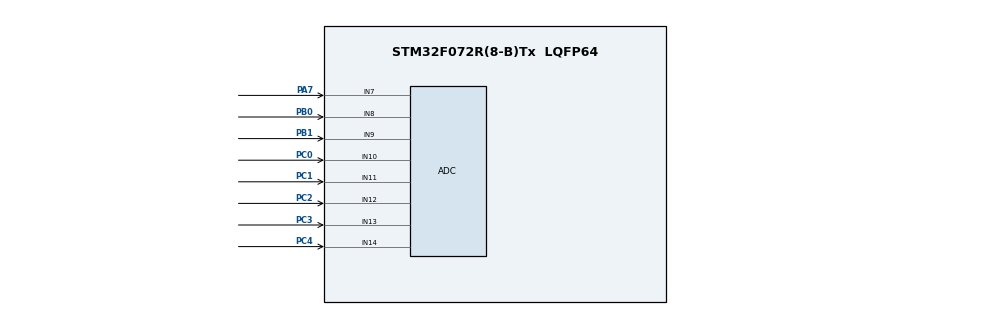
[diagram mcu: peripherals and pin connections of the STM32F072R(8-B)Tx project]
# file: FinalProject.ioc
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Mcu.Family=STM32F0
Mcu.Name=STM32F072R(8-B)Tx
Mcu.Package=LQFP64
PA7.Mode=IN7
PA7.Signal=ADC_IN7
PB0.Mode=IN8
PB0.Signal=ADC_IN8
PB1.Mode=IN9
PB1.Signal=ADC_IN9
PC0.Mode=IN10
PC0.Signal=ADC_IN10
PC1.Mode=IN11
PC1.Signal=ADC_IN11
PC2.Mode=IN12
PC2.Signal=ADC_IN12
PC3.Mode=IN13
PC3.Signal=ADC_IN13
PC4.Mode=IN14
PC4.Signal=ADC_IN14
ProjectManager.HeapSize=0x200
ProjectManager.StackSize=0x400
ProjectManager.TargetToolchain=MDK-ARM V5
board=custom

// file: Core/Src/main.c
/* USER CODE BEGIN Header */
/**
  ******************************************************************************
  * @file           : main.c
  * @brief          : Main program body - Final Project
  ******************************************************************************
  * This is the controlling .c file of the program, responsible for all logic
  * that occurs in this program. Program functionality all under Project's
  * README.md file. All logic discussed in file is handled in this code.
  *
  * @attention
  * Authors: Jack Marshall, Andrew Piskadlo, and Emily Erickson
  * University of Utah, ECE 5780: Embedded Systems
  * April 20th, 2024
  *
  * Copyright (c) 2024 STMicroelectronics.
  * All rights reserved.
  *
  * This software is licensed under terms that can be found in the LICENSE file
  * in the root directory of this software component.
  * If no LICENSE file comes with this software, it is provided AS-IS.
  *
  ******************************************************************************
  */
/* USER CODE END Header */
#include "main.h"
#include <stdbool.h> // Include the standard library for boolean variables
#include <stdio.h>
#include <stdlib.h>

#define ROWS 10 // Number of rows in the 2D array, so 10 guestures each with data for 8 channels can be saved
#define COLS 8  // Number of columns in the 2D array, so 8 channels can be saved

#define MAX_ARRAY_SIZE 100  // Maximum size of the array holding the 8-channels ADC data (12 digits per, so 96 total?), adjust as needed
#define MAX_STRING_LENGTH 189 // string length we need to transmit to UART to force each message to a new line (when putty in fullscreen mode)

/* USER CODE BEGIN Includes */

// Declare boolean variables
bool gestureIdentified = false;
bool gestureUnidentified = false;
bool gestureError = false;
bool alreadyCalibrated;
bool calibrationStarted;
bool testStarted;
char userInput;
char button;
int test;
int calibrationCounter = 0;
int testCounter;
int calibrateGestureNumber;
int testGestureNumber;
char errorMsgWrongLetter[] = " wrong input press r, g, b or o.";
char errorMsgWrongNumber[] = " wrong input press 0, 1, or 2. ";
char errorMsgRedOn[] = "                     turned on red LED.";
char errorMsgRedOff[] = "                     turned off red LED.";
char errorMsgRedToggle[] = "                     toggled red LED.";
char errorMsgGreenOn[] = "                     turned on green LED.";
char errorMsgGreenOff[] = "                     turned off green LED.";
char errorMsgGreenToggle[] = "                     toggled green LED.";
char errorMsgBlueOn[] = "                     turned on blue LED.";
char errorMsgBlueOff[] = "                     turned off blue LED.";
char errorMsgBlueToggle[] = "                     toggled blue LED.";
char errorMsgOrangeOn[] = "                     turned on orange LED.";
char errorMsgOrangeOff[] = "                     turned off orange LED.";
char errorMsgOrangeToggle[] = "                     toggled orange LED.";
char errorMsgBadArgument[] = " must enter 'start.' to calibrate, or 'test' to identify gesture. must 'start' before using 'test'.";
char errorMsgNotCalibrated[] = " cant 'test' before you 'start' calibration.";
char errorMsgCalibrated[] = " cant 'calibrate' twice in a row! push reset button to start over to recalibrate.";
char userInputArray[8];

int x = 115; // hard code length of message

// Placeholder for 0's and 1's in channels 1-8 after filtering and ADC
// Used to influence case statements for UART to print messages.
char channels[8];
uint32_t ADC_VAL[8] = {0,0,0,0,0,0,0,0}; // empty ADC values for all 8 channels
unsigned long ADC_TEST_VALS[8] = {0,0,0,0,0,0,0,0}; // empty ADV values for all 8 channels
unsigned long KALMAN_VALS[8] = {0,0,0,0,0,0,0,0}; // empty ADV values for all 8 channels
unsigned long ADCLibrary[ROWS][COLS]; // Global 2D array

/* USER CODE END Includes */

/* USER CODE BEGIN PV */
ADC_HandleTypeDef hadc;
/* USER CODE END PV */

void SystemClock_Config(void);
void TransmitCharacter (char input);
void CharReader(char string[x]);
void UARTConfig(void);
void UARTBegin(void);
void ClockLogic(void);
void SetupGPIOs(void);
void InitLEDsState(void);
void EnableUART(void);
void GetSignals(void);
void SaveGesture(void);
void BeginGesture(void);
void TestGesture(void);
void ADCInit(void);
void StoreADC(void);
void ADC_Select_CH1(void);
void ADC_Select_CH2(void);
void ADC_Select_CH3(void);
void ADC_Select_CH4(void);
void ADC_Select_CH5(void);
void ADC_Select_CH6(void);
void ADC_Select_CH7(void);
void ADC_Select_CH8(void);
void PrintError(char* values);
void PrintMessage(char* values);
void store_in_2d_array(unsigned long input[]);
void printArray(unsigned long* arr, int size);
bool ApproxGesture(unsigned long input[]);
bool CompareChannels(const char* values);
void SetChannels(const char* values);
void SetGestureFlags(bool identified, bool unidentified, bool error);
bool compareStrings(const char *str1, const char *str2);
unsigned long kalman_filter(unsigned long ADC_Value);
char* arrayToString(unsigned long* arr, int size);
int countNonEmptyIndices(char array[]);
static void MX_ADC_Init(void);

int main(void)
{
  HAL_Init(); // Initialize the Hardware Abstraction Layer (HAL)

  SystemClock_Config(); // Configure the system clock

  ClockLogic(); // Set up and configure various clocks

  SetupGPIOs(); // Clear registers for GPIO configuration

  ADCInit(); // Initialize Analog to Digital Converter (ADC)

  MX_ADC_Init(); // Initialize ADC pin configurations and parameters

  SetChannels("00000000"); // Set initial values in the channels array for gesture identification

  UARTConfig(); // Configure UART (Universal Asynchronous Receiver/Transmitter)

  InitLEDsState(); // Initialize LEDs state

  EnableUART(); // Turn on UART communication

  alreadyCalibrated = false; // Initialize calibration flags
  calibrationStarted = false;
  calibrationCounter = 0;
  testCounter = 0;

  calibrateGestureNumber = 1; // Set the number of gestures to calibrate and test
  testGestureNumber = 1;

  /* Infinite loop */
  while (1)
  {
    SetGestureFlags(false, false, false); // Reset gesture flags

    HAL_Delay(20); // General delay to control the rate of data processing

    // Check if all test gestures have been completed
    if (testCounter >= testGestureNumber)
    {
      PrintError("Main method: Finished!!");
      while (1)
      {
        // Infinite loop to halt execution
      }
    }

    if (!calibrationStarted)
    {
      // If calibration mode is not yet started, prompt user to initiate calibration
      PrintMessage("Enter 'start.' to start calibrating!");
      UARTBegin();
    }
    else
    {
      if (calibrationCounter == 0)
      {
        PrintMessage("Calibrate mode selected: push blue button to calibrate gesture!");
      }

      if (calibrationCounter < calibrateGestureNumber)
      {
        BeginGesture(); // Wait for the user to press a button to start recording gesture data
        GetSignals(); // Acquire signal data from the ADC
        SaveGesture(); // Save the recorded gesture data
      }
      else
      {
        if (testCounter == 0 && (!gestureUnidentified) && (!gestureError))
        {
          PrintMessage("All gestures calibrated, enter 'test.' to start testing gestures!");
          UARTBegin();
        }

        if (testStarted)
        {
          if (testCounter == 0)
          {
            PrintMessage("Test mode selected: push blue button when ready to test gesture!");
          }

          if (testCounter < testGestureNumber)
          {
            BeginGesture(); // Wait for the user to press a button to start recording gesture data
            GetSignals(); // Acquire signal data from the ADC
            TestGesture(); // Test the recorded gesture against calibrated gestures
          }
          else
          {
            PrintError("Main Method: Error!, restart program");
            while (1)
            {
              // Infinite loop to halt execution
            }
          }
        }
      }
    }
  }
}

/*****************************************************
*Function name: kalman_filter
 *Function function: ADC_filter
 *Entry parameter: ADC_Value
 *Export parameters: kalman_adc
*****************************************************/
unsigned long kalman_filter(unsigned long ADC_Value)
{
    float x_k1_k1,x_k_k1;
    static float ADC_OLD_Value;
    float Z_k;
    static float P_k1_k1;

    static float Q = 0.0001;//Q: Regulation noise, Q increases, dynamic response becomes faster, and convergence stability becomes worse
    static float R = 0.005; //R: Test noise, R increases, dynamic response becomes slower, convergence stability becomes better
    static float Kg = 0;
    static float P_k_k1 = 1;

    float kalman_adc;
    static float kalman_adc_old=0;
    Z_k = ADC_Value;
    x_k1_k1 = kalman_adc_old;

    x_k_k1 = x_k1_k1;
    P_k_k1 = P_k1_k1 + Q;

    Kg = P_k_k1/(P_k_k1 + R);

    kalman_adc = x_k_k1 + Kg * (Z_k - kalman_adc_old);
    P_k1_k1 = (1 - Kg)*P_k_k1;
    P_k_k1 = P_k1_k1;

    ADC_OLD_Value = ADC_Value;
    kalman_adc_old = kalman_adc;

    return kalman_adc;
}

// Waits until USER btn (the blue button) is held/pressed (to indicate I'm ready to record
// the input data from these gestures.
void BeginGesture(void)
{
	uint32_t debouncer = 0; // Variable to store button state for debounce

    while (1) {
        debouncer = (debouncer << 1); // Always shift every loop iteration
        if (GPIOA->IDR & GPIO_PIN_0) { // If input signal is set/high
            debouncer |= 0x01; // Set lowest bit of bit-vector
        }

        // Check if the debounce variable has reached a steady state
        if (debouncer == 0xFFFFFFFF) {
            // This logic executes if button properly pressed/held, which indicates begin gesture!!
					PrintMessage("BeginGesture: Button pressed to start gesture! ");
          break;
        }

        // When button is bouncing the bit-vector value is random since bits are set when the button is high and not when it bounces low.
        // Add a small delay to prevent debouncing issues
        for (volatile int i = 0; i < 1000; i++);
    }

}

// Once all gestures are calibrated and stored, we will test a gesture out!
void TestGesture(void)
{
  int arrSize = sizeof(KALMAN_VALS) / sizeof(KALMAN_VALS[0]); // Calculate the size of the array
	PrintMessage("TestGesture: KALMAN Values--> ");
	printArray(KALMAN_VALS, arrSize); // print values

	if(ApproxGesture(KALMAN_VALS) && (!gestureUnidentified) && (!gestureError))
	{
		PrintMessage("TestGesture: Success, gesture was identified!");
		testCounter++;
	} else if ((!gestureError) && (gestureUnidentified))
	{
		PrintMessage("TestGesture: Error, something went wrong");
	} else if ((gestureError) || (!gestureUnidentified))
	{
		PrintMessage("TestGesture: Unidentified/flag, gesture not close to one calibrated!");
	} else
	{
		PrintMessage("TestGesture: Unidentified/bad approximation, gesture not close to one calibrated!");
	}

}

// Initializes the Analog-to-Digital Converter (ADC) for reading analog signals.
void ADCInit(void)
{
	// Configure PC4 pin as analog input
	GPIO_InitTypeDef adc = {GPIO_PIN_4, GPIO_MODE_ANALOG, GPIO_SPEED_FREQ_LOW, GPIO_NOPULL};
	HAL_GPIO_Init(GPIOC, &adc);

	// Enable clock for ADC1
	__HAL_RCC_ADC1_CLK_ENABLE();

	// Set ADC resolution to 8-bit
	ADC1->CFGR1 |= (1 << 4);
	ADC1->CFGR1 |= (1 << 13);
	ADC1->CHSELR |= (1 << 14);

	// Additional configuration needed for other channels
}

// Reads signals from ADC for a duration of approximately 3 seconds.
void GetSignals(void)
{
	uint32_t startTime = HAL_GetTick(); // Get the current time in milliseconds
	uint32_t elapsedTime;

	while (1)
	{
		StoreADC(); // Call StoreADC function

		// Calculate elapsed time
		elapsedTime = HAL_GetTick() - startTime;

		// Check if 3 seconds have elapsed
		if (elapsedTime >= 1000)
		{
			break; // Exit the loop
		}
	}
}

// Checks if the input array matches any calibrated gesture within given thresholds.
bool ApproxGesture(unsigned long input[]) {
	for (int i = 0; i < calibrateGestureNumber; i++) {
		bool match = true;
		for (int j = 0; j < COLS; j++) {
			// Compare input values with calibrated values within thresholds
			if (!(((input[j] - ADCLibrary[i][j]) <= 20) || ((ADCLibrary[i][j] - input[j]) <= 5)))
			{
				PrintMessage("ApproxGesture: wrong channel value detected!");
				match = false;
				break;
			}
		}
		if (match) {
			return true; // Found a match
		}
	}
	return false; // No match found
}

// Stores input array in a 2D array for gesture calibration.
void store_in_2d_array(unsigned long input[]) {
	if (calibrationCounter < ROWS) {
		for (int j = 0; j < COLS; j++) {
			ADCLibrary[calibrationCounter][j] = input[j];
		}
	} else {
		PrintMessage("Store 2D Array: 2D array is full. Cannot store more data.");
	}
}

// Saves the calibrated gesture data if no error occurred during calibration.
void SaveGesture (void)
{
	int arrSize = sizeof(KALMAN_VALS) / sizeof(KALMAN_VALS[0]); // Calculate the size of the array
	PrintMessage("SaveGesture: KALMAN Values--> ");
	printArray(KALMAN_VALS, arrSize); // Print values

	if (gestureError)
	{
		// If error occurred during calibration, print error message and return
		PrintMessage("SaveGesture: Error saving gesture, trying to re-calibrate!");
	} else
	{
		// If no error, store calibrated gesture data
		store_in_2d_array(KALMAN_VALS);
		PrintMessage("SaveGesture: Success!");

		calibrationCounter++;
	}
}

// Prints an error message to Putty using CharReader, turns off all lights, and turns on the red LED to indicate an error.
void PrintError(char* values)
{
	CharReader(values); // Display the error message

	// Turn off all LEDs and turn on the red LED to indicate an error
	GPIOC->ODR |= (1<<6); // Turn on red LED
	GPIOC->ODR &= ~(1<<7); // Turn off other LEDs
	GPIOC->ODR &= ~(1<<8);
	GPIOC->ODR &= ~(1<<9);
}

// Prints a message to Putty using CharReader.
void PrintMessage(char* values)
{
	CharReader(values); // Display the message
}

// Sets values in the channels array.
void SetChannels(const char* values) {
    int i;
    // Copy values to the channels array
    for (i = 0; i < 8 && values[i] != '\0'; ++i) {
        channels[i] = values[i];
    }
    // Fill the remaining elements with null terminator if needed
    for (; i < 8; ++i) {
        channels[i] = '\0';
    }
}

// Compares two strings and returns true if they match, false otherwise.
bool compareStrings(const char *str1, const char *str2) {
    while (*str1 && *str2) {
        if (*str1 != *str2) {
            return false; // Characters don't match, return false
        }
        str1++;
        str2++;
    }
    // Check if both strings ended at the same position
    if (*str1 == '\0' && *str2 == '\0') {
        return true; // Strings match
    } else {
        return false; // Strings don't match in length
    }
}

// Compares values in the channels array with a given string.
bool CompareChannels(const char* values) {
    for (int i = 0; i < 8; ++i) {
        if (channels[i] != values[i]) {
            return false; // Return false if any characters don't match
        }
    }
    return true; // Return true if all characters match
}

// Sets the values of gestureIdentified, gestureUnidentified, and gestureError flags.
void SetGestureFlags(bool identified, bool unidentified, bool error) {
    gestureIdentified = identified;
    gestureUnidentified = unidentified;
    gestureError = error;
}

// Enable clock for required peripherals.
void ClockLogic(void)
{
    // Enable clock for GPIOA (user btn)
    RCC->AHBENR |= RCC_AHBENR_GPIOAEN;

    // Enable clock for GPIOB (TX and RX pins for UART)
    RCC->AHBENR |= RCC_AHBENR_GPIOBEN;

    // Enable clock for USART3 (UART)
    RCC->APB1ENR |= RCC_APB1ENR_USART3EN;

    // Enable clock for GPIOC (LEDs)
    RCC->AHBENR |= RCC_AHBENR_GPIOCEN;

    __HAL_RCC_GPIOC_CLK_ENABLE();
    __HAL_RCC_GPIOA_CLK_ENABLE();
    __HAL_RCC_GPIOB_CLK_ENABLE();
}

// Configures UART for use.
void UARTConfig(void)
{
    // Configure pins PB10(TX) and PB11(RX) for UART
    GPIOB->AFR[1] &=~ ((1<<8)|(1<<9)|(1<<11)|(1<<12)|(1<<13)|(1<<15)); // Alternate function on PB10 and PB11
    GPIOB->AFR[1] |= ((1<<10)|(1<<14));

    // Set baud rate to 115200
    USART3->BRR = 69; // Actual is 69.44 (8000000/115200), actual baud rate now is 115942

    // Enable receiver and transmitter
    USART3->CR1 |= ((1<<2)|(1<<3));
}

// Enables UART.
void EnableUART(void)
{
    USART3->CR1 |= (1<<0); // Enable USART
}

// Begins UART communication and handles user input.
void UARTBegin(void)
{
    userInput = 0; // Reset user input
    int inputIndex = 0; // Index for storing user inputs in the array
    char userInputArray[8]; // Array to store user inputs

    // Initialize userInputArray with null characters
    for (int i = 0; i < 8; ++i) {
        userInputArray[i] = '\0';
    }

    while (1) {
        // Wait for user input
        while (!(USART3->ISR & (1 << 5))) {
            // Wait until data is ready to be received
        }
        // Read the user input
        char userInput = USART3->RDR;

        // Check if the user input is the period character
        if (userInput == '.') {
            // End of user input, break the loop
            break;
        }

        // Store the user input in the array
        userInputArray[inputIndex] = userInput;

        // Print the received character (for debugging)
        TransmitCharacter(userInput);

        // Increment the index for the next user input
        inputIndex++;

        // Check if the array is full
        if (inputIndex >= 8) {
            // Array is full, break the loop
            break;
        }
    }

    // Check user input and perform corresponding actions
    if (compareStrings(userInputArray, "start")) {
        if(!calibrationStarted){
            GPIOC->ODR |= (1<<9); // Turn on green LED
            GPIOC->ODR &= ~(1<<8); // Turn off orange LED
            GPIOC->ODR &= ~(1<<7); // Turn off blue LED
            CharReader(errorMsgGreenOn); // Print message that green LED is on
            calibrationStarted = true;
        } else {
            CharReader(errorMsgCalibrated); // Cannot calibrate twice in a row
        }
    } else if (compareStrings(userInputArray, "test")) {
        if(calibrationStarted){
            GPIOC->ODR &= ~(1<<9); // Turn off green LED
            GPIOC->ODR |= (1<<8); // Turn on orange LED
            GPIOC->ODR &= ~(1<<7); // Turn off blue LED
            CharReader(errorMsgOrangeOn); // Print message that orange LED is on
            testStarted = true;
        } else {
            CharReader(errorMsgNotCalibrated); // Cannot test gestures before calibration
        }
    } else {
        CharReader(errorMsgBadArgument); // Invalid input
    }

    // Clear the userInputArray
    for (int i = 0; i < sizeof(userInputArray); ++i) {
        userInputArray[i] = '\0'; // Set each element to '\0' (null character)
    }
    // Clear the user input
    userInput = 0;
    HAL_Delay(10); // Small delay because baud rate is faster than the board
}

// Transmits a single character through USART3.
void TransmitCharacter (char input) {
    uint32_t TXEmask = (1<<7); // Bit mask for checking TXE flag
    while ((USART3->ISR & TXEmask) == 0) { // Wait until TXE flag is set
    }
    USART3->TDR = input; // Write character to data register for transmission
}

// Reads a string and transmits its characters through USART3, padding with spaces if needed.
void CharReader(char string[]) {
    int i;
    int length = 0;
    int currLineDiff = MAX_STRING_LENGTH - countNonEmptyIndices(userInputArray); // Calculate current line difference

    // Calculate the length of the string
    for (i = 0; string[i] != '\0'; i++) {
        length++;
    }

    // Transmit characters from the input string
    for (i = 0; i < length; i++) {
        TransmitCharacter(string[i]);
    }

    // Pad the string with space characters if its length is less than currLineDiff characters
    if (length < currLineDiff) {
        for (i = length; i < currLineDiff; i++) {
            TransmitCharacter(' ');
        }
    }
}

// Converts an array of unsigned long integers to a string.
char* arrayToString(unsigned long* arr, int size) {
    // Allocate memory for the string
    char* str = (char*)malloc((size * 12) * sizeof(char)); // Assuming max unsigned long size is 10 digits + 1 comma + 1 space + 1 null terminator

    if (str == NULL) {
        PrintMessage("Array To String: memory allocation failed"); // Notify if memory allocation fails
        return NULL;
    }

    // Initialize index for the string
    int index = 0;

    // Convert each element of the array to string and append to the string with comma separation
    for (int i = 0; i < size; i++) {
        index += sprintf(&str[index], "%lu", arr[i]); // Convert unsigned long to string
        if (i != size - 1) {
            index += sprintf(&str[index], ","); // Add comma and space if not the last element
        }
    }

    return str; // Return the dynamically allocated string
}

// Prints an array of unsigned long integers.
void printArray(unsigned long* arr, int size) {
    // Convert array to string
    char* str = arrayToString(arr, size);
    if (str == NULL) {
        PrintMessage("Printing array: memory allocation failed"); // Notify if memory allocation fails
        return; // Memory allocation failed
    }

    // Print the resulting string
    PrintMessage(str); // Print the string through UART

    // Free allocated memory
    free(str); // Release the dynamically allocated string
}

// Counts the number of non-empty elements in a character array.
int countNonEmptyIndices(char array[]) {
    int count = 0;

    // Iterate through the array and count non-empty elements
    for (int i = 0; i < 8; i++) {
        if (array[i] != '\0') {
            count++;
        }
    }
    return count; // Return the count of non-empty elements
}

// setup for GPIOA, GPIOB, and GPIOC
void SetupGPIOs(void)
{
	//GPIOC setup for LEDs
	// moder 01 for general purpose
	GPIOC->MODER |= ((1<<14)|(1<<12)|(1<<18)|(1<<16)); // normal function mode
	GPIOC->MODER &=~  ((1<<15)|(1<<13)|(1<<19)|(1<<17)); // normal function mode

	// GPIOB setup for PB10 and PB11's regsiters to use RX and TX in UART later
	GPIOB->MODER  |= ((1<<21)|(1<<23));
	GPIOB->MODER  &=~ ((1<<20)|(1<<22));

	//setting PA0 (User btn) to input mode
	GPIOA->MODER &= ~((1<<0) | (1<<1));

	// setting PAO (user btn) to low-speed
	GPIOA->OSPEEDR |= (1<<0);

	// setting PA0 (User btn) to pull-down mode --> low, then up (to VCC) when pressed
	// aka, 0 not pressed, 1 when pressed. used for if 0(not pressed), do this. if 1 (pressed) do this
	GPIOA->PUPDR &= ~(1<<0);
	GPIOA->PUPDR |= (1<<1);
}

// start with all LEDs on
void InitLEDsState(void)
{
	//Comented out because we want to start with no LEDs on (at least for now)
	GPIOC->ODR &= ~(1<<6);
	GPIOC->ODR |= (1<<7); // blue to indicate it is running
	GPIOC->ODR &= ~(1<<8);
	GPIOC->ODR &= ~(1<<9);
}

// Storing Analog-to-Digital Conversion for each of the 8 channels into ADC_VAL uint32_t array
void StoreADC(void)
{
	// Channel 1
	ADC_Select_CH1();
	HAL_ADC_Start(&hadc);
	HAL_ADC_PollForConversion(&hadc, 1000); // 1000 is the timeout
	KALMAN_VALS[0] = kalman_filter((unsigned long)HAL_ADC_GetValue(&hadc));
	HAL_ADC_Stop(&hadc);

	// Channel 2
	ADC_Select_CH2();
	HAL_ADC_Start(&hadc);
	HAL_ADC_PollForConversion(&hadc, 1000);
	KALMAN_VALS[1] = kalman_filter((unsigned long)HAL_ADC_GetValue(&hadc));
	HAL_ADC_Stop(&hadc);

	// Channel 3
	ADC_Select_CH3();
	HAL_ADC_Start(&hadc);
	HAL_ADC_PollForConversion(&hadc, 1000);
	KALMAN_VALS[2] = kalman_filter((unsigned long)HAL_ADC_GetValue(&hadc));
	HAL_ADC_Stop(&hadc);

	// Channel 4
	ADC_Select_CH4();
	HAL_ADC_Start(&hadc);
	HAL_ADC_PollForConversion(&hadc, 1000);
	KALMAN_VALS[3] = kalman_filter((unsigned long)HAL_ADC_GetValue(&hadc));
	HAL_ADC_Stop(&hadc);

	// Channel 5
	ADC_Select_CH5();
	HAL_ADC_Start(&hadc);
	HAL_ADC_PollForConversion(&hadc, 1000);
	KALMAN_VALS[4] = kalman_filter((unsigned long)HAL_ADC_GetValue(&hadc));
	HAL_ADC_Stop(&hadc);

	// Channel 6
	ADC_Select_CH6();
	HAL_ADC_Start(&hadc);
	HAL_ADC_PollForConversion(&hadc, 1000);
	KALMAN_VALS[5] = kalman_filter((unsigned long)HAL_ADC_GetValue(&hadc));
	HAL_ADC_Stop(&hadc);

	// Channel 7
	ADC_Select_CH7();
	HAL_ADC_Start(&hadc);
	HAL_ADC_PollForConversion(&hadc, 1000);
	KALMAN_VALS[6] = kalman_filter((unsigned long)HAL_ADC_GetValue(&hadc));
	HAL_ADC_Stop(&hadc);

	// Channel 8
	ADC_Select_CH8();
	HAL_ADC_Start(&hadc);
	HAL_ADC_PollForConversion(&hadc, 1000);
	KALMAN_VALS[7] = kalman_filter((unsigned long)HAL_ADC_GetValue(&hadc));
	HAL_ADC_Stop(&hadc);

	int arrSize = sizeof(KALMAN_VALS) / sizeof(KALMAN_VALS[0]);
}

static void MX_ADC_Init(void)
{
  ADC_ChannelConfTypeDef sConfig = {0};

  /** Configure the global features of the ADC (Clock, Resolution, Data Alignment and number of conversion)
  */

// Alter values below to match source's settings if things go wrong!
  hadc.Instance = ADC1;
  hadc.Init.ClockPrescaler = ADC_CLOCK_SYNC_PCLK_DIV4;
  hadc.Init.Resolution = ADC_RESOLUTION_12B;
	hadc.Init.ScanConvMode = ENABLE;
	hadc.Init.ContinuousConvMode = ENABLE;
	hadc.Init.DiscontinuousConvMode = DISABLE;
	hadc.Init.ExternalTrigConvEdge = ADC_EXTERNALTRIGCONVEDGE_NONE;
	hadc.Init.ExternalTrigConv = ADC_SOFTWARE_START;
	hadc.Init.DataAlign = ADC_DATAALIGN_RIGHT;
	hadc.Init.DMAContinuousRequests = DISABLE;
	hadc.Init.EOCSelection = ADC_EOC_SEQ_CONV;
  if (HAL_ADC_Init(&hadc) != HAL_OK)
  {
    Error_Handler();
  }
}

// Selects ADC channel 1 and configures its settings.
void ADC_Select_CH1(void)
{
	ADC_ChannelConfTypeDef sConfig = {0};

	// Configure for the selected ADC regular channel, its corresponding rank in the sequencer, and its sample time.
	sConfig.Channel = ADC_CHANNEL_7;
  sConfig.Rank = ADC_RANK_CHANNEL_NUMBER;
  sConfig.SamplingTime = ADC_SAMPLETIME_13CYCLES_5;
  if (HAL_ADC_ConfigChannel(&hadc, &sConfig) != HAL_OK)
  {
    Error_Handler();
  }

}

// Selects ADC channel 2 and configures its settings.
void ADC_Select_CH2(void)
{
	ADC_ChannelConfTypeDef sConfig = {0};

	// Configure for the selected ADC regular channel, its corresponding rank in the sequencer, and its sample time.
	sConfig.Channel = ADC_CHANNEL_8;
  sConfig.Rank = ADC_RANK_CHANNEL_NUMBER;
  sConfig.SamplingTime = ADC_SAMPLETIME_13CYCLES_5;
  if (HAL_ADC_ConfigChannel(&hadc, &sConfig) != HAL_OK)
  {
    Error_Handler();
  }

}
// Selects ADC channel 3 and configures its settings.
void ADC_Select_CH3(void)
{
	ADC_ChannelConfTypeDef sConfig = {0};

	// Configure for the selected ADC regular channel, its corresponding rank in the sequencer, and its sample time.
	sConfig.Channel = ADC_CHANNEL_9;
  sConfig.Rank = ADC_RANK_CHANNEL_NUMBER;
  sConfig.SamplingTime = ADC_SAMPLETIME_13CYCLES_5;
  if (HAL_ADC_ConfigChannel(&hadc, &sConfig) != HAL_OK)
  {
    Error_Handler();
  }

}

// Selects ADC channel 4 and configures its settings.
void ADC_Select_CH4(void)
{
	ADC_ChannelConfTypeDef sConfig = {0};

	// Configure for the selected ADC regular channel, its corresponding rank in the sequencer, and its sample time.
	sConfig.Channel = ADC_CHANNEL_10;
  sConfig.Rank = ADC_RANK_CHANNEL_NUMBER;
  sConfig.SamplingTime = ADC_SAMPLETIME_13CYCLES_5;
  if (HAL_ADC_ConfigChannel(&hadc, &sConfig) != HAL_OK)
  {
    Error_Handler();
  }

}

// Selects ADC channel 5 and configures its settings.
void ADC_Select_CH5(void)
{
	ADC_ChannelConfTypeDef sConfig = {0};

	// Configure for the selected ADC regular channel, its corresponding rank in the sequencer, and its sample time.
	sConfig.Channel = ADC_CHANNEL_11;
  sConfig.Rank = ADC_RANK_CHANNEL_NUMBER;
  sConfig.SamplingTime = ADC_SAMPLETIME_13CYCLES_5;
  if (HAL_ADC_ConfigChannel(&hadc, &sConfig) != HAL_OK)
  {
    Error_Handler();
  }

}

// Selects ADC channel 6 and configures its settings.
void ADC_Select_CH6(void)
{
	ADC_ChannelConfTypeDef sConfig = {0};

	// Configure for the selected ADC regular channel, its corresponding rank in the sequencer, and its sample time.
	sConfig.Channel = ADC_CHANNEL_12;
  sConfig.Rank = ADC_RANK_CHANNEL_NUMBER;
  sConfig.SamplingTime = ADC_SAMPLETIME_13CYCLES_5;
  if (HAL_ADC_ConfigChannel(&hadc, &sConfig) != HAL_OK)
  {
    Error_Handler();
  }

}

// Selects ADC channel 7 and configures its settings.
void ADC_Select_CH7(void)
{
	ADC_ChannelConfTypeDef sConfig = {0};

	// Configure for the selected ADC regular channel, its corresponding rank in the sequencer, and its sample time.
	sConfig.Channel = ADC_CHANNEL_13;
  sConfig.Rank = ADC_RANK_CHANNEL_NUMBER;
  sConfig.SamplingTime = ADC_SAMPLETIME_13CYCLES_5;
  if (HAL_ADC_ConfigChannel(&hadc, &sConfig) != HAL_OK)
  {
    Error_Handler();
  }

}

// Selects ADC channel 8 and configures its settings.
void ADC_Select_CH8(void)
{
	ADC_ChannelConfTypeDef sConfig = {0};

	// Configure for the selected ADC regular channel, its corresponding rank in the sequencer, and its sample time.
	sConfig.Channel = ADC_CHANNEL_14;
  sConfig.Rank = ADC_RANK_CHANNEL_NUMBER;
  sConfig.SamplingTime = ADC_SAMPLETIME_13CYCLES_5;
  if (HAL_ADC_ConfigChannel(&hadc, &sConfig) != HAL_OK)
  {
    Error_Handler();
  }

}

void SystemClock_Config(void)
{
  RCC_OscInitTypeDef RCC_OscInitStruct = {0};
  RCC_ClkInitTypeDef RCC_ClkInitStruct = {0};

  /** Initializes the RCC Oscillators according to the specified parameters
  * in the RCC_OscInitTypeDef structure.
  */
  RCC_OscInitStruct.OscillatorType = RCC_OSCILLATORTYPE_HSI|RCC_OSCILLATORTYPE_HSI14;
  RCC_OscInitStruct.HSIState = RCC_HSI_ON;
  RCC_OscInitStruct.HSI14State = RCC_HSI14_ON;
  RCC_OscInitStruct.HSICalibrationValue = RCC_HSICALIBRATION_DEFAULT;
  RCC_OscInitStruct.HSI14CalibrationValue = 16;
  RCC_OscInitStruct.PLL.PLLState = RCC_PLL_NONE;
  if (HAL_RCC_OscConfig(&RCC_OscInitStruct) != HAL_OK)
  {
    Error_Handler();
  }

  /** Initializes the CPU, AHB and APB buses clocks
  */
  RCC_ClkInitStruct.ClockType = RCC_CLOCKTYPE_HCLK|RCC_CLOCKTYPE_SYSCLK
                              |RCC_CLOCKTYPE_PCLK1;
  RCC_ClkInitStruct.SYSCLKSource = RCC_SYSCLKSOURCE_HSI;
  RCC_ClkInitStruct.AHBCLKDivider = RCC_SYSCLK_DIV1;
  RCC_ClkInitStruct.APB1CLKDivider = RCC_HCLK_DIV1;

  if (HAL_RCC_ClockConfig(&RCC_ClkInitStruct, FLASH_LATENCY_0) != HAL_OK)
  {
    Error_Handler();
  }
}

void Error_Handler(void)
{
  __disable_irq();
  while (1)
  {
  }
}
